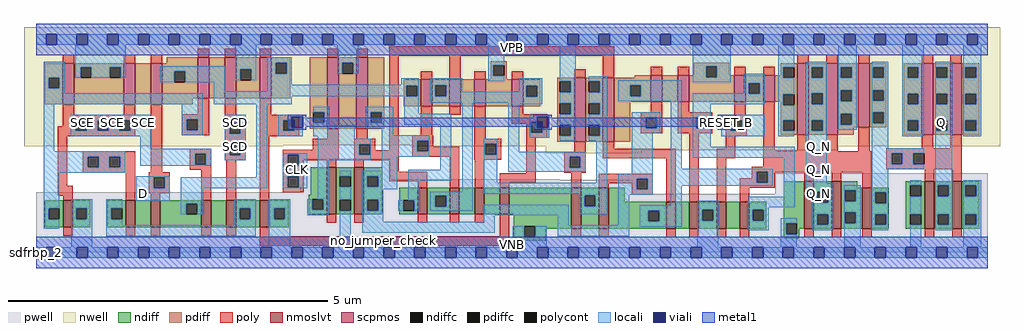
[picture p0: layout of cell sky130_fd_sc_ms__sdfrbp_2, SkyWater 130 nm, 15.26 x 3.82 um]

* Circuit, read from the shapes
.subckt sky130_fd_sc_ms__sdfrbp_2 CLK D RESET_B SCD SCE VGND VNB VPB VPWR Q Q_N
XM1 VGND SCE n1 VNB sky130_fd_pr__nfet_01v8_lvt w=0.42 l=0.15
XM2 n2 n1 n3 VNB sky130_fd_pr__nfet_01v8_lvt w=0.42 l=0.15
XM3 n4 D n2 VNB sky130_fd_pr__nfet_01v8_lvt w=0.42 l=0.15
XM4 n5 SCE n4 VNB sky130_fd_pr__nfet_01v8_lvt w=0.42 l=0.15
XM5 n3 SCD n5 VNB sky130_fd_pr__nfet_01v8_lvt w=0.42 l=0.15
XM6 VGND RESET_B n3 VNB sky130_fd_pr__nfet_01v8_lvt w=0.42 l=0.15
XM7 VGND CLK n6 VNB sky130_fd_pr__nfet_01v8_lvt w=0.74 l=0.15
XM8 n7 n6 VGND VNB sky130_fd_pr__nfet_01v8_lvt w=0.74 l=0.15
XM9 n8 n6 n4 VNB sky130_fd_pr__nfet_01v8_lvt w=0.42 l=0.15
XM10 n9 n7 n8 VNB sky130_fd_pr__nfet_01v8_lvt w=0.42 l=0.15
XM11 n10 n11 n9 VNB sky130_fd_pr__nfet_01v8_lvt w=0.42 l=0.15
XM12 VGND RESET_B n10 VNB sky130_fd_pr__nfet_01v8_lvt w=0.42 l=0.15
XM13 n11 n8 VGND VNB sky130_fd_pr__nfet_01v8_lvt w=0.64 l=0.15
XM14 n12 n7 n11 VNB sky130_fd_pr__nfet_01v8_lvt w=0.64 l=0.15
XM15 n13 n6 n12 VNB sky130_fd_pr__nfet_01v8_lvt w=0.42 l=0.15
XM16 VGND n14 n13 VNB sky130_fd_pr__nfet_01v8_lvt w=0.42 l=0.15
XM17 n15 RESET_B VGND VNB sky130_fd_pr__nfet_01v8_lvt w=0.42 l=0.15
XM18 n14 n12 n15 VNB sky130_fd_pr__nfet_01v8_lvt w=0.42 l=0.15
XM19 Q_N n12 VGND VNB sky130_fd_pr__nfet_01v8_lvt w=0.74 l=0.15 m=2
XM20 n16 n12 VGND VNB sky130_fd_pr__nfet_01v8_lvt w=0.64 l=0.15
XM21 Q n16 VGND VNB sky130_fd_pr__nfet_01v8_lvt w=0.74 l=0.15 m=2
XM22 VPWR SCE n1 VPB sky130_fd_pr__pfet_01v8 w=0.64 l=0.18
XM23 n17 SCE VPWR VPB sky130_fd_pr__pfet_01v8 w=0.64 l=0.18
XM24 n4 D n17 VPB sky130_fd_pr__pfet_01v8 w=0.64 l=0.18
XM25 n18 n1 n4 VPB sky130_fd_pr__pfet_01v8 w=0.64 l=0.18
XM26 VPWR SCD n18 VPB sky130_fd_pr__pfet_01v8 w=0.64 l=0.18
XM27 n4 RESET_B VPWR VPB sky130_fd_pr__pfet_01v8 w=0.64 l=0.18
XM28 VPWR CLK n6 VPB sky130_fd_pr__pfet_01v8 w=1.12 l=0.18
XM29 n7 n6 VPWR VPB sky130_fd_pr__pfet_01v8 w=1.12 l=0.18
XM30 n8 n7 n4 VPB sky130_fd_pr__pfet_01v8 w=0.42 l=0.18
XM31 n19 n6 n8 VPB sky130_fd_pr__pfet_01v8 w=0.42 l=0.18
XM32 VPWR n11 n19 VPB sky130_fd_pr__pfet_01v8 w=0.42 l=0.18
XM33 n8 RESET_B VPWR VPB sky130_fd_pr__pfet_01v8 w=0.42 l=0.18
XM34 n11 n8 VPWR VPB sky130_fd_pr__pfet_01v8 w=1 l=0.18
XM35 n12 n6 n11 VPB sky130_fd_pr__pfet_01v8 w=1 l=0.18
XM36 n20 n7 n12 VPB sky130_fd_pr__pfet_01v8 w=0.42 l=0.18
XM37 VPWR n14 n20 VPB sky130_fd_pr__pfet_01v8 w=0.42 l=0.18
XM38 n14 RESET_B VPWR VPB sky130_fd_pr__pfet_01v8 w=0.42 l=0.18
XM39 VPWR n12 n14 VPB sky130_fd_pr__pfet_01v8 w=0.42 l=0.18
XM40 Q_N n12 VPWR VPB sky130_fd_pr__pfet_01v8 w=1.12 l=0.18 m=2
XM41 n16 n12 VPWR VPB sky130_fd_pr__pfet_01v8 w=1 l=0.18
XM42 Q n16 VPWR VPB sky130_fd_pr__pfet_01v8 w=1.12 l=0.18 m=2
.ends

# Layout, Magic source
magic
tech sky130A
magscale 1 2
<< nwell >>
rect -38 335 3014 704
rect -38 332 772 335
rect 1177 332 3014 335
rect 1594 319 2508 332
rect 1594 311 1894 319
<< pwell >>
rect 833 229 1108 293
rect 833 228 1637 229
rect 833 206 1866 228
rect 826 189 1866 206
rect 1 184 1866 189
rect 2311 184 2975 248
rect 1 49 2975 184
rect 0 0 2976 49
<< scpmos >>
rect 83 464 119 592
rect 274 464 310 592
rect 358 464 394 592
rect 505 483 541 611
rect 589 483 625 611
rect 699 483 735 611
rect 911 387 947 611
rect 1001 387 1037 611
rect 1202 457 1238 541
rect 1292 457 1328 541
rect 1370 457 1406 541
rect 1487 457 1523 541
rect 1682 347 1718 547
rect 1772 347 1808 547
rect 1922 471 1958 555
rect 2006 471 2042 555
rect 2183 471 2219 555
rect 2273 471 2309 555
rect 2380 368 2416 592
rect 2470 368 2506 592
rect 2571 392 2607 592
rect 2769 368 2805 592
rect 2859 368 2895 592
<< nmoslvt >>
rect 84 79 114 163
rect 280 79 310 163
rect 358 79 388 163
rect 517 79 547 163
rect 595 79 625 163
rect 699 79 729 163
rect 909 119 939 267
rect 995 119 1025 267
rect 1193 119 1223 203
rect 1293 119 1323 203
rect 1371 119 1401 203
rect 1449 119 1479 203
rect 1674 74 1704 202
rect 1760 74 1790 202
rect 1970 74 2000 158
rect 2042 74 2072 158
rect 2128 74 2158 158
rect 2200 74 2230 158
rect 2402 74 2432 222
rect 2488 74 2518 222
rect 2583 74 2613 202
rect 2779 74 2809 222
rect 2865 74 2895 222
<< ndiff >>
rect 859 180 909 267
rect 852 167 909 180
rect 27 138 84 163
rect 27 104 39 138
rect 73 104 84 138
rect 27 79 84 104
rect 114 138 169 163
rect 114 104 125 138
rect 159 104 169 138
rect 114 79 169 104
rect 223 138 280 163
rect 223 104 235 138
rect 269 104 280 138
rect 223 79 280 104
rect 310 79 358 163
rect 388 153 517 163
rect 388 119 470 153
rect 504 119 517 153
rect 388 79 517 119
rect 547 79 595 163
rect 625 138 699 163
rect 625 104 636 138
rect 670 104 699 138
rect 625 79 699 104
rect 729 138 790 163
rect 729 104 744 138
rect 778 104 790 138
rect 852 133 864 167
rect 898 133 909 167
rect 852 119 909 133
rect 939 239 995 267
rect 939 205 950 239
rect 984 205 995 239
rect 939 165 995 205
rect 939 131 950 165
rect 984 131 995 165
rect 939 119 995 131
rect 1025 239 1082 267
rect 1025 205 1036 239
rect 1070 205 1082 239
rect 1025 165 1082 205
rect 1025 131 1036 165
rect 1070 131 1082 165
rect 1025 119 1082 131
rect 1136 164 1193 203
rect 1136 130 1148 164
rect 1182 130 1193 164
rect 1136 119 1193 130
rect 1223 177 1293 203
rect 1223 143 1248 177
rect 1282 143 1293 177
rect 1223 119 1293 143
rect 1323 119 1371 203
rect 1401 119 1449 203
rect 1479 202 1611 203
rect 1479 119 1674 202
rect 729 79 790 104
rect 1494 82 1674 119
rect 1494 48 1526 82
rect 1560 74 1674 82
rect 1704 179 1760 202
rect 1704 145 1715 179
rect 1749 145 1760 179
rect 1704 74 1760 145
rect 1790 158 1840 202
rect 1790 131 1970 158
rect 1790 97 1914 131
rect 1948 97 1970 131
rect 1790 74 1970 97
rect 2000 74 2042 158
rect 2072 133 2128 158
rect 2072 99 2083 133
rect 2117 99 2128 133
rect 2072 74 2128 99
rect 2158 74 2200 158
rect 2230 133 2283 158
rect 2230 99 2241 133
rect 2275 99 2283 133
rect 2230 74 2283 99
rect 2337 91 2402 222
rect 1560 48 1593 74
rect 2337 57 2345 91
rect 2379 74 2402 91
rect 2432 190 2488 222
rect 2432 156 2443 190
rect 2477 156 2488 190
rect 2432 120 2488 156
rect 2432 86 2443 120
rect 2477 86 2488 120
rect 2432 74 2488 86
rect 2518 202 2568 222
rect 2720 210 2779 222
rect 2518 194 2583 202
rect 2518 160 2529 194
rect 2563 160 2583 194
rect 2518 126 2583 160
rect 2518 92 2529 126
rect 2563 92 2583 126
rect 2518 74 2583 92
rect 2613 188 2666 202
rect 2613 154 2624 188
rect 2658 154 2666 188
rect 2613 120 2666 154
rect 2613 86 2624 120
rect 2658 86 2666 120
rect 2613 74 2666 86
rect 2720 176 2734 210
rect 2768 176 2779 210
rect 2720 120 2779 176
rect 2720 86 2734 120
rect 2768 86 2779 120
rect 2720 74 2779 86
rect 2809 210 2865 222
rect 2809 176 2820 210
rect 2854 176 2865 210
rect 2809 120 2865 176
rect 2809 86 2820 120
rect 2854 86 2865 120
rect 2809 74 2865 86
rect 2895 210 2949 222
rect 2895 176 2906 210
rect 2940 176 2949 210
rect 2895 120 2949 176
rect 2895 86 2906 120
rect 2940 86 2949 120
rect 2895 74 2949 86
rect 2379 57 2387 74
rect 1494 36 1593 48
rect 2337 45 2387 57
<< pdiff >>
rect 409 592 505 611
rect 27 547 83 592
rect 27 513 39 547
rect 73 513 83 547
rect 27 464 83 513
rect 119 580 274 592
rect 119 546 139 580
rect 173 546 230 580
rect 264 546 274 580
rect 119 464 274 546
rect 310 464 358 592
rect 394 566 505 592
rect 394 532 432 566
rect 466 532 505 566
rect 394 483 505 532
rect 541 483 589 611
rect 625 573 699 611
rect 625 539 639 573
rect 673 539 699 573
rect 625 483 699 539
rect 735 593 795 611
rect 735 559 749 593
rect 783 559 795 593
rect 735 483 795 559
rect 394 464 490 483
rect 855 439 911 611
rect 855 405 867 439
rect 901 405 911 439
rect 855 387 911 405
rect 947 593 1001 611
rect 947 559 957 593
rect 991 559 1001 593
rect 947 387 1001 559
rect 1037 439 1089 611
rect 1037 405 1047 439
rect 1081 405 1089 439
rect 1037 387 1089 405
rect 1421 586 1472 598
rect 1421 552 1430 586
rect 1464 552 1472 586
rect 1421 541 1472 552
rect 2057 582 2168 594
rect 2057 555 2095 582
rect 1872 547 1922 555
rect 1149 522 1202 541
rect 1149 488 1158 522
rect 1192 488 1202 522
rect 1149 457 1202 488
rect 1238 523 1292 541
rect 1238 489 1248 523
rect 1282 489 1292 523
rect 1238 457 1292 489
rect 1328 457 1370 541
rect 1406 457 1487 541
rect 1523 521 1576 541
rect 1523 487 1533 521
rect 1567 487 1576 521
rect 1523 457 1576 487
rect 1630 535 1682 547
rect 1630 501 1638 535
rect 1672 501 1682 535
rect 1630 467 1682 501
rect 1630 433 1638 467
rect 1672 433 1682 467
rect 1630 399 1682 433
rect 1630 365 1638 399
rect 1672 365 1682 399
rect 1630 347 1682 365
rect 1718 535 1772 547
rect 1718 501 1728 535
rect 1762 501 1772 535
rect 1718 467 1772 501
rect 1718 433 1728 467
rect 1762 433 1772 467
rect 1718 399 1772 433
rect 1718 365 1728 399
rect 1762 365 1772 399
rect 1718 347 1772 365
rect 1808 523 1922 547
rect 1808 489 1857 523
rect 1891 489 1922 523
rect 1808 471 1922 489
rect 1958 471 2006 555
rect 2042 548 2095 555
rect 2129 555 2168 582
rect 2328 580 2380 592
rect 2328 555 2336 580
rect 2129 548 2183 555
rect 2042 471 2183 548
rect 2219 530 2273 555
rect 2219 496 2229 530
rect 2263 496 2273 530
rect 2219 471 2273 496
rect 2309 546 2336 555
rect 2370 546 2380 580
rect 2309 495 2380 546
rect 2309 471 2336 495
rect 1808 347 1858 471
rect 2328 461 2336 471
rect 2370 461 2380 495
rect 2328 414 2380 461
rect 2328 380 2336 414
rect 2370 380 2380 414
rect 2328 368 2380 380
rect 2416 580 2470 592
rect 2416 546 2426 580
rect 2460 546 2470 580
rect 2416 498 2470 546
rect 2416 464 2426 498
rect 2460 464 2470 498
rect 2416 414 2470 464
rect 2416 380 2426 414
rect 2460 380 2470 414
rect 2416 368 2470 380
rect 2506 580 2571 592
rect 2506 546 2516 580
rect 2550 546 2571 580
rect 2506 507 2571 546
rect 2506 473 2516 507
rect 2550 473 2571 507
rect 2506 434 2571 473
rect 2506 400 2516 434
rect 2550 400 2571 434
rect 2506 392 2571 400
rect 2607 580 2659 592
rect 2607 546 2617 580
rect 2651 546 2659 580
rect 2607 508 2659 546
rect 2607 474 2617 508
rect 2651 474 2659 508
rect 2607 438 2659 474
rect 2607 404 2617 438
rect 2651 404 2659 438
rect 2607 392 2659 404
rect 2713 580 2769 592
rect 2713 546 2725 580
rect 2759 546 2769 580
rect 2713 497 2769 546
rect 2713 463 2725 497
rect 2759 463 2769 497
rect 2713 414 2769 463
rect 2506 368 2556 392
rect 2713 380 2725 414
rect 2759 380 2769 414
rect 2713 368 2769 380
rect 2805 580 2859 592
rect 2805 546 2815 580
rect 2849 546 2859 580
rect 2805 497 2859 546
rect 2805 463 2815 497
rect 2849 463 2859 497
rect 2805 414 2859 463
rect 2805 380 2815 414
rect 2849 380 2859 414
rect 2805 368 2859 380
rect 2895 580 2949 592
rect 2895 546 2905 580
rect 2939 546 2949 580
rect 2895 497 2949 546
rect 2895 463 2905 497
rect 2939 463 2949 497
rect 2895 414 2949 463
rect 2895 380 2905 414
rect 2939 380 2949 414
rect 2895 368 2949 380
<< ndiffc >>
rect 39 104 73 138
rect 125 104 159 138
rect 235 104 269 138
rect 470 119 504 153
rect 636 104 670 138
rect 744 104 778 138
rect 864 133 898 167
rect 950 205 984 239
rect 950 131 984 165
rect 1036 205 1070 239
rect 1036 131 1070 165
rect 1148 130 1182 164
rect 1248 143 1282 177
rect 1526 48 1560 82
rect 1715 145 1749 179
rect 1914 97 1948 131
rect 2083 99 2117 133
rect 2241 99 2275 133
rect 2345 57 2379 91
rect 2443 156 2477 190
rect 2443 86 2477 120
rect 2529 160 2563 194
rect 2529 92 2563 126
rect 2624 154 2658 188
rect 2624 86 2658 120
rect 2734 176 2768 210
rect 2734 86 2768 120
rect 2820 176 2854 210
rect 2820 86 2854 120
rect 2906 176 2940 210
rect 2906 86 2940 120
<< pdiffc >>
rect 39 513 73 547
rect 139 546 173 580
rect 230 546 264 580
rect 432 532 466 566
rect 639 539 673 573
rect 749 559 783 593
rect 867 405 901 439
rect 957 559 991 593
rect 1047 405 1081 439
rect 1430 552 1464 586
rect 1158 488 1192 522
rect 1248 489 1282 523
rect 1533 487 1567 521
rect 1638 501 1672 535
rect 1638 433 1672 467
rect 1638 365 1672 399
rect 1728 501 1762 535
rect 1728 433 1762 467
rect 1728 365 1762 399
rect 1857 489 1891 523
rect 2095 548 2129 582
rect 2229 496 2263 530
rect 2336 546 2370 580
rect 2336 461 2370 495
rect 2336 380 2370 414
rect 2426 546 2460 580
rect 2426 464 2460 498
rect 2426 380 2460 414
rect 2516 546 2550 580
rect 2516 473 2550 507
rect 2516 400 2550 434
rect 2617 546 2651 580
rect 2617 474 2651 508
rect 2617 404 2651 438
rect 2725 546 2759 580
rect 2725 463 2759 497
rect 2725 380 2759 414
rect 2815 546 2849 580
rect 2815 463 2849 497
rect 2815 380 2849 414
rect 2905 546 2939 580
rect 2905 463 2939 497
rect 2905 380 2939 414
<< poly >>
rect 83 592 119 618
rect 274 592 310 618
rect 358 592 394 618
rect 505 611 541 637
rect 589 611 625 637
rect 699 611 735 637
rect 911 611 947 637
rect 1001 611 1037 637
rect 1104 615 1808 645
rect 83 430 119 464
rect 274 430 310 464
rect 83 414 310 430
rect 83 394 124 414
rect 67 380 124 394
rect 158 380 192 414
rect 226 380 260 414
rect 294 380 310 414
rect 67 364 310 380
rect 67 208 97 364
rect 145 300 310 316
rect 145 266 161 300
rect 195 266 229 300
rect 263 266 310 300
rect 145 250 310 266
rect 358 251 394 464
rect 505 432 541 483
rect 455 416 541 432
rect 455 382 471 416
rect 505 382 541 416
rect 455 366 541 382
rect 589 422 625 483
rect 699 430 735 483
rect 589 406 655 422
rect 589 372 605 406
rect 639 372 655 406
rect 589 338 655 372
rect 481 308 547 324
rect 481 274 497 308
rect 531 274 547 308
rect 589 304 605 338
rect 639 304 655 338
rect 589 288 655 304
rect 699 414 823 430
rect 699 380 773 414
rect 807 380 823 414
rect 699 364 823 380
rect 481 258 547 274
rect 67 178 114 208
rect 84 163 114 178
rect 280 163 310 250
rect 352 235 418 251
rect 352 201 368 235
rect 402 201 418 235
rect 352 185 418 201
rect 358 163 388 185
rect 517 163 547 258
rect 595 163 625 288
rect 699 163 729 364
rect 911 355 947 387
rect 1001 355 1037 387
rect 865 322 947 355
rect 771 306 947 322
rect 771 272 787 306
rect 821 289 947 306
rect 995 339 1061 355
rect 995 305 1011 339
rect 1045 319 1061 339
rect 1104 319 1134 615
rect 1202 541 1238 567
rect 1292 541 1328 615
rect 1370 541 1406 567
rect 1487 541 1523 567
rect 1682 547 1718 573
rect 1772 547 1808 615
rect 2380 592 2416 618
rect 2470 592 2506 618
rect 2571 592 2607 618
rect 2769 592 2805 618
rect 2859 592 2895 618
rect 1922 555 1958 581
rect 2006 555 2042 581
rect 1202 366 1238 457
rect 1292 431 1328 457
rect 1045 305 1134 319
rect 995 289 1134 305
rect 1176 350 1242 366
rect 1176 316 1192 350
rect 1226 330 1242 350
rect 1370 356 1406 457
rect 1487 433 1523 457
rect 1487 409 1598 433
rect 1487 403 1548 409
rect 1532 375 1548 403
rect 1582 375 1598 409
rect 1532 359 1598 375
rect 1370 340 1454 356
rect 1226 316 1323 330
rect 1176 300 1323 316
rect 821 272 837 289
rect 771 238 837 272
rect 909 267 939 289
rect 995 267 1025 289
rect 771 204 787 238
rect 821 204 837 238
rect 771 188 837 204
rect 1104 252 1134 289
rect 1104 222 1223 252
rect 1193 203 1223 222
rect 1293 203 1323 300
rect 1370 306 1404 340
rect 1438 306 1454 340
rect 1370 290 1454 306
rect 1371 203 1401 290
rect 1532 248 1562 359
rect 2183 555 2219 581
rect 2273 555 2309 581
rect 1922 439 1958 471
rect 1890 423 1958 439
rect 1890 389 1906 423
rect 1940 389 1958 423
rect 1890 373 1958 389
rect 2006 439 2042 471
rect 2006 423 2114 439
rect 2183 430 2219 471
rect 2006 389 2064 423
rect 2098 389 2114 423
rect 2006 373 2114 389
rect 2156 414 2222 430
rect 2156 380 2172 414
rect 2206 380 2222 414
rect 1682 315 1718 347
rect 1652 299 1718 315
rect 1652 265 1668 299
rect 1702 265 1718 299
rect 1772 325 1808 347
rect 1772 295 2000 325
rect 1652 249 1718 265
rect 1449 218 1562 248
rect 1449 203 1479 218
rect 1674 202 1704 249
rect 1760 231 1928 247
rect 1760 217 1878 231
rect 1760 202 1790 217
rect 909 93 939 119
rect 995 93 1025 119
rect 1193 93 1223 119
rect 1293 93 1323 119
rect 1371 93 1401 119
rect 84 53 114 79
rect 280 53 310 79
rect 358 53 388 79
rect 517 53 547 79
rect 595 53 625 79
rect 699 51 729 79
rect 1449 51 1479 119
rect 699 21 1479 51
rect 1862 197 1878 217
rect 1912 197 1928 231
rect 1862 181 1928 197
rect 1970 158 2000 295
rect 2042 158 2072 373
rect 2156 364 2222 380
rect 2156 325 2186 364
rect 2128 295 2186 325
rect 2273 318 2309 471
rect 2380 318 2416 368
rect 2273 317 2416 318
rect 2470 317 2506 368
rect 2571 317 2607 392
rect 2769 326 2805 368
rect 2859 326 2895 368
rect 2128 158 2158 295
rect 2273 268 2613 317
rect 2238 252 2613 268
rect 2659 310 2895 326
rect 2659 276 2675 310
rect 2709 276 2743 310
rect 2777 276 2895 310
rect 2659 260 2895 276
rect 2238 232 2254 252
rect 2200 218 2254 232
rect 2288 251 2613 252
rect 2288 218 2309 251
rect 2402 222 2432 251
rect 2488 222 2518 251
rect 2200 202 2309 218
rect 2200 158 2230 202
rect 1674 48 1704 74
rect 1760 48 1790 74
rect 1970 48 2000 74
rect 2042 48 2072 74
rect 2128 48 2158 74
rect 2200 48 2230 74
rect 2583 202 2613 251
rect 2779 222 2809 260
rect 2865 222 2895 260
rect 2402 48 2432 74
rect 2488 48 2518 74
rect 2583 48 2613 74
rect 2779 48 2809 74
rect 2865 48 2895 74
<< polycont >>
rect 124 380 158 414
rect 192 380 226 414
rect 260 380 294 414
rect 161 266 195 300
rect 229 266 263 300
rect 471 382 505 416
rect 605 372 639 406
rect 497 274 531 308
rect 605 304 639 338
rect 773 380 807 414
rect 368 201 402 235
rect 787 272 821 306
rect 1011 305 1045 339
rect 1192 316 1226 350
rect 1548 375 1582 409
rect 787 204 821 238
rect 1404 306 1438 340
rect 1906 389 1940 423
rect 2064 389 2098 423
rect 2172 380 2206 414
rect 1668 265 1702 299
rect 1878 197 1912 231
rect 2675 276 2709 310
rect 2743 276 2777 310
rect 2254 218 2288 252
<< locali >>
rect 0 649 31 683
rect 65 649 127 683
rect 161 649 223 683
rect 257 649 319 683
rect 353 649 415 683
rect 449 649 511 683
rect 545 649 607 683
rect 641 649 703 683
rect 737 649 799 683
rect 833 649 895 683
rect 929 649 991 683
rect 1025 649 1087 683
rect 1121 649 1183 683
rect 1217 649 1279 683
rect 1313 649 1375 683
rect 1409 649 1471 683
rect 1505 649 1567 683
rect 1601 649 1663 683
rect 1697 649 1759 683
rect 1793 649 1855 683
rect 1889 649 1951 683
rect 1985 649 2047 683
rect 2081 649 2143 683
rect 2177 649 2239 683
rect 2273 649 2335 683
rect 2369 649 2431 683
rect 2465 649 2527 683
rect 2561 649 2623 683
rect 2657 649 2719 683
rect 2753 649 2815 683
rect 2849 649 2911 683
rect 2945 649 2976 683
rect 23 547 89 596
rect 23 513 39 547
rect 73 513 89 547
rect 123 580 280 649
rect 123 546 139 580
rect 173 546 230 580
rect 264 546 280 580
rect 388 566 589 582
rect 388 532 432 566
rect 466 532 589 566
rect 623 573 689 649
rect 623 539 639 573
rect 673 539 689 573
rect 623 538 689 539
rect 723 593 799 611
rect 723 559 749 593
rect 783 559 799 593
rect 941 593 1007 649
rect 941 559 957 593
rect 991 559 1007 593
rect 1414 586 1464 649
rect 23 498 89 513
rect 555 504 589 532
rect 723 525 799 559
rect 1414 552 1430 586
rect 1142 525 1197 545
rect 723 522 1197 525
rect 723 504 1158 522
rect 23 464 521 498
rect 555 489 1158 504
rect 555 464 799 489
rect 1151 488 1158 489
rect 1192 488 1197 522
rect 23 316 57 464
rect 108 414 359 430
rect 108 380 124 414
rect 158 380 192 414
rect 226 380 260 414
rect 294 380 359 414
rect 108 364 359 380
rect 455 416 521 464
rect 455 382 471 416
rect 505 382 521 416
rect 455 366 521 382
rect 589 406 655 430
rect 589 372 605 406
rect 639 372 655 406
rect 325 324 359 364
rect 589 338 655 372
rect 23 300 279 316
rect 23 266 161 300
rect 195 266 229 300
rect 263 266 279 300
rect 325 308 547 324
rect 325 274 497 308
rect 531 274 547 308
rect 589 304 605 338
rect 639 304 655 338
rect 589 288 655 304
rect 325 272 547 274
rect 23 250 279 266
rect 23 138 73 250
rect 313 235 418 238
rect 689 235 723 464
rect 867 439 917 455
rect 757 424 833 430
rect 757 414 799 424
rect 757 380 773 414
rect 807 380 833 390
rect 757 364 833 380
rect 901 405 917 439
rect 867 398 917 405
rect 1031 439 1117 455
rect 1031 405 1047 439
rect 1081 405 1117 439
rect 867 364 997 398
rect 1031 389 1117 405
rect 1151 434 1197 488
rect 1232 523 1332 545
rect 1414 536 1464 552
rect 1232 489 1248 523
rect 1282 502 1332 523
rect 1510 521 1583 545
rect 1510 502 1533 521
rect 1282 489 1533 502
rect 1232 487 1533 489
rect 1567 487 1583 521
rect 1232 468 1583 487
rect 1151 400 1298 434
rect 881 355 997 364
rect 1081 366 1117 389
rect 881 339 1047 355
rect 313 201 368 235
rect 402 201 418 235
rect 23 104 39 138
rect 23 75 73 104
rect 109 138 175 167
rect 109 104 125 138
rect 159 104 175 138
rect 109 17 175 104
rect 219 138 269 167
rect 313 162 418 201
rect 452 201 723 235
rect 771 306 847 310
rect 771 272 787 306
rect 821 272 847 306
rect 771 238 847 272
rect 771 204 787 238
rect 821 204 847 238
rect 771 201 847 204
rect 881 305 1011 339
rect 1045 305 1047 339
rect 881 289 1047 305
rect 1081 350 1230 366
rect 1081 316 1192 350
rect 1226 316 1230 350
rect 1081 300 1230 316
rect 219 104 235 138
rect 452 153 522 201
rect 881 167 915 289
rect 1081 255 1129 300
rect 1264 258 1298 400
rect 452 119 470 153
rect 504 119 522 153
rect 620 138 686 167
rect 219 85 269 104
rect 620 104 636 138
rect 670 104 686 138
rect 620 85 686 104
rect 219 51 686 85
rect 728 138 794 167
rect 728 104 744 138
rect 778 104 794 138
rect 848 133 864 167
rect 898 133 915 167
rect 848 117 915 133
rect 950 239 984 255
rect 950 165 984 205
rect 728 17 794 104
rect 950 17 984 131
rect 1020 239 1129 255
rect 1020 205 1036 239
rect 1070 205 1129 239
rect 1020 198 1129 205
rect 1164 224 1298 258
rect 1020 165 1086 198
rect 1020 131 1036 165
rect 1070 131 1086 165
rect 1164 164 1198 224
rect 1332 190 1366 468
rect 1476 464 1583 468
rect 1638 535 1688 649
rect 2053 582 2172 649
rect 1672 501 1688 535
rect 1638 467 1688 501
rect 1020 96 1086 131
rect 1132 130 1148 164
rect 1182 130 1198 164
rect 1232 177 1366 190
rect 1400 340 1442 356
rect 1400 306 1404 340
rect 1438 306 1442 340
rect 1400 218 1442 306
rect 1476 315 1510 464
rect 1672 433 1688 467
rect 1544 424 1604 430
rect 1544 409 1567 424
rect 1544 375 1548 409
rect 1601 390 1604 424
rect 1582 375 1604 390
rect 1544 359 1604 375
rect 1638 399 1688 433
rect 1672 365 1688 399
rect 1638 349 1688 365
rect 1728 535 1786 551
rect 2053 548 2095 582
rect 2129 548 2172 582
rect 2320 580 2370 649
rect 1762 501 1786 535
rect 1728 467 1786 501
rect 1820 523 2019 539
rect 2053 532 2172 548
rect 1820 489 1857 523
rect 1891 489 2019 523
rect 2213 530 2279 559
rect 2213 498 2229 530
rect 1820 473 2019 489
rect 1762 433 1786 467
rect 1728 399 1786 433
rect 1762 365 1786 399
rect 1728 349 1786 365
rect 1476 299 1718 315
rect 1476 265 1668 299
rect 1702 265 1718 299
rect 1476 252 1718 265
rect 1752 218 1786 349
rect 1862 423 1951 439
rect 1862 389 1906 423
rect 1940 389 1951 423
rect 1862 373 1951 389
rect 1862 247 1928 373
rect 1400 184 1786 218
rect 1232 143 1248 177
rect 1282 143 1366 177
rect 1699 179 1786 184
rect 1232 130 1366 143
rect 1400 116 1665 150
rect 1699 145 1715 179
rect 1749 145 1786 179
rect 1699 119 1786 145
rect 1820 231 1928 247
rect 1820 197 1878 231
rect 1912 197 1928 231
rect 1820 181 1928 197
rect 1985 262 2019 473
rect 2053 496 2229 498
rect 2263 496 2279 530
rect 2053 464 2279 496
rect 2320 546 2336 580
rect 2320 495 2370 546
rect 2053 423 2109 464
rect 2320 461 2336 495
rect 2053 389 2064 423
rect 2098 389 2109 423
rect 2053 330 2109 389
rect 2143 424 2279 430
rect 2177 414 2279 424
rect 2143 380 2172 390
rect 2206 380 2279 414
rect 2143 364 2279 380
rect 2320 414 2370 461
rect 2320 380 2336 414
rect 2320 364 2370 380
rect 2406 580 2472 596
rect 2406 546 2426 580
rect 2460 546 2472 580
rect 2406 498 2472 546
rect 2406 464 2426 498
rect 2460 464 2472 498
rect 2406 414 2472 464
rect 2406 380 2426 414
rect 2460 380 2472 414
rect 2508 580 2566 649
rect 2508 546 2516 580
rect 2550 546 2566 580
rect 2508 507 2566 546
rect 2508 473 2516 507
rect 2550 473 2566 507
rect 2508 434 2566 473
rect 2508 400 2516 434
rect 2550 400 2566 434
rect 2508 384 2566 400
rect 2613 580 2665 596
rect 2613 546 2617 580
rect 2651 546 2665 580
rect 2613 508 2665 546
rect 2613 474 2617 508
rect 2651 474 2665 508
rect 2613 438 2665 474
rect 2613 404 2617 438
rect 2651 404 2665 438
rect 2053 296 2372 330
rect 1985 252 2304 262
rect 1985 218 2254 252
rect 2288 218 2304 252
rect 1985 209 2304 218
rect 1400 96 1434 116
rect 1020 62 1434 96
rect 1631 85 1665 116
rect 1820 85 1854 181
rect 1985 147 2019 209
rect 2338 175 2372 296
rect 2406 217 2472 380
rect 2613 326 2665 404
rect 2709 580 2775 649
rect 2709 546 2725 580
rect 2759 546 2775 580
rect 2709 497 2775 546
rect 2709 463 2725 497
rect 2759 463 2775 497
rect 2709 414 2775 463
rect 2709 380 2725 414
rect 2759 380 2775 414
rect 2709 364 2775 380
rect 2811 580 2865 596
rect 2811 546 2815 580
rect 2849 546 2865 580
rect 2811 497 2865 546
rect 2811 463 2815 497
rect 2849 463 2865 497
rect 2811 414 2865 463
rect 2811 380 2815 414
rect 2849 380 2865 414
rect 2613 310 2777 326
rect 2613 276 2675 310
rect 2709 276 2743 310
rect 2613 260 2777 276
rect 2406 190 2493 217
rect 2406 183 2443 190
rect 1490 48 1526 82
rect 1560 48 1597 82
rect 1631 51 1854 85
rect 1888 131 2019 147
rect 1888 97 1914 131
rect 1948 97 2019 131
rect 1888 81 2019 97
rect 2067 133 2133 162
rect 2067 99 2083 133
rect 2117 99 2133 133
rect 1490 17 1597 48
rect 2067 17 2133 99
rect 2225 141 2372 175
rect 2427 156 2443 183
rect 2477 156 2493 190
rect 2225 133 2291 141
rect 2225 99 2241 133
rect 2275 99 2291 133
rect 2427 120 2493 156
rect 2225 70 2291 99
rect 2329 91 2379 107
rect 2329 57 2345 91
rect 2427 86 2443 120
rect 2477 86 2493 120
rect 2427 70 2493 86
rect 2527 194 2579 210
rect 2527 160 2529 194
rect 2563 160 2579 194
rect 2527 126 2579 160
rect 2527 92 2529 126
rect 2563 92 2579 126
rect 2329 17 2379 57
rect 2527 17 2579 92
rect 2613 188 2665 260
rect 2613 154 2624 188
rect 2658 154 2665 188
rect 2613 120 2665 154
rect 2613 86 2624 120
rect 2658 86 2665 120
rect 2613 70 2665 86
rect 2734 210 2768 226
rect 2734 120 2768 176
rect 2734 17 2768 86
rect 2811 210 2865 380
rect 2899 580 2955 649
rect 2899 546 2905 580
rect 2939 546 2955 580
rect 2899 497 2955 546
rect 2899 463 2905 497
rect 2939 463 2955 497
rect 2899 414 2955 463
rect 2899 380 2905 414
rect 2939 380 2955 414
rect 2899 364 2955 380
rect 2811 176 2820 210
rect 2854 176 2865 210
rect 2811 120 2865 176
rect 2811 86 2820 120
rect 2854 86 2865 120
rect 2811 70 2865 86
rect 2899 210 2956 226
rect 2899 176 2906 210
rect 2940 176 2956 210
rect 2899 120 2956 176
rect 2899 86 2906 120
rect 2940 86 2956 120
rect 2899 17 2956 86
rect 0 -17 31 17
rect 65 -17 127 17
rect 161 -17 223 17
rect 257 -17 319 17
rect 353 -17 415 17
rect 449 -17 511 17
rect 545 -17 607 17
rect 641 -17 703 17
rect 737 -17 799 17
rect 833 -17 895 17
rect 929 -17 991 17
rect 1025 -17 1087 17
rect 1121 -17 1183 17
rect 1217 -17 1279 17
rect 1313 -17 1375 17
rect 1409 -17 1471 17
rect 1505 -17 1567 17
rect 1601 -17 1663 17
rect 1697 -17 1759 17
rect 1793 -17 1855 17
rect 1889 -17 1951 17
rect 1985 -17 2047 17
rect 2081 -17 2143 17
rect 2177 -17 2239 17
rect 2273 -17 2335 17
rect 2369 -17 2431 17
rect 2465 -17 2527 17
rect 2561 -17 2623 17
rect 2657 -17 2719 17
rect 2753 -17 2815 17
rect 2849 -17 2911 17
rect 2945 -17 2976 17
<< viali >>
rect 31 649 65 683
rect 127 649 161 683
rect 223 649 257 683
rect 319 649 353 683
rect 415 649 449 683
rect 511 649 545 683
rect 607 649 641 683
rect 703 649 737 683
rect 799 649 833 683
rect 895 649 929 683
rect 991 649 1025 683
rect 1087 649 1121 683
rect 1183 649 1217 683
rect 1279 649 1313 683
rect 1375 649 1409 683
rect 1471 649 1505 683
rect 1567 649 1601 683
rect 1663 649 1697 683
rect 1759 649 1793 683
rect 1855 649 1889 683
rect 1951 649 1985 683
rect 2047 649 2081 683
rect 2143 649 2177 683
rect 2239 649 2273 683
rect 2335 649 2369 683
rect 2431 649 2465 683
rect 2527 649 2561 683
rect 2623 649 2657 683
rect 2719 649 2753 683
rect 2815 649 2849 683
rect 2911 649 2945 683
rect 799 414 833 424
rect 799 390 807 414
rect 807 390 833 414
rect 1567 409 1601 424
rect 1567 390 1582 409
rect 1582 390 1601 409
rect 2143 414 2177 424
rect 2143 390 2172 414
rect 2172 390 2177 414
rect 31 -17 65 17
rect 127 -17 161 17
rect 223 -17 257 17
rect 319 -17 353 17
rect 415 -17 449 17
rect 511 -17 545 17
rect 607 -17 641 17
rect 703 -17 737 17
rect 799 -17 833 17
rect 895 -17 929 17
rect 991 -17 1025 17
rect 1087 -17 1121 17
rect 1183 -17 1217 17
rect 1279 -17 1313 17
rect 1375 -17 1409 17
rect 1471 -17 1505 17
rect 1567 -17 1601 17
rect 1663 -17 1697 17
rect 1759 -17 1793 17
rect 1855 -17 1889 17
rect 1951 -17 1985 17
rect 2047 -17 2081 17
rect 2143 -17 2177 17
rect 2239 -17 2273 17
rect 2335 -17 2369 17
rect 2431 -17 2465 17
rect 2527 -17 2561 17
rect 2623 -17 2657 17
rect 2719 -17 2753 17
rect 2815 -17 2849 17
rect 2911 -17 2945 17
<< metal1 >>
rect 0 683 2976 715
rect 0 649 31 683
rect 65 649 127 683
rect 161 649 223 683
rect 257 649 319 683
rect 353 649 415 683
rect 449 649 511 683
rect 545 649 607 683
rect 641 649 703 683
rect 737 649 799 683
rect 833 649 895 683
rect 929 649 991 683
rect 1025 649 1087 683
rect 1121 649 1183 683
rect 1217 649 1279 683
rect 1313 649 1375 683
rect 1409 649 1471 683
rect 1505 649 1567 683
rect 1601 649 1663 683
rect 1697 649 1759 683
rect 1793 649 1855 683
rect 1889 649 1951 683
rect 1985 649 2047 683
rect 2081 649 2143 683
rect 2177 649 2239 683
rect 2273 649 2335 683
rect 2369 649 2431 683
rect 2465 649 2527 683
rect 2561 649 2623 683
rect 2657 649 2719 683
rect 2753 649 2815 683
rect 2849 649 2911 683
rect 2945 649 2976 683
rect 0 617 2976 649
rect 787 424 845 430
rect 787 390 799 424
rect 833 421 845 424
rect 1555 424 1613 430
rect 1555 421 1567 424
rect 833 393 1567 421
rect 833 390 845 393
rect 787 384 845 390
rect 1555 390 1567 393
rect 1601 421 1613 424
rect 2131 424 2189 430
rect 2131 421 2143 424
rect 1601 393 2143 421
rect 1601 390 1613 393
rect 1555 384 1613 390
rect 2131 390 2143 393
rect 2177 390 2189 424
rect 2131 384 2189 390
rect 0 17 2976 49
rect 0 -17 31 17
rect 65 -17 127 17
rect 161 -17 223 17
rect 257 -17 319 17
rect 353 -17 415 17
rect 449 -17 511 17
rect 545 -17 607 17
rect 641 -17 703 17
rect 737 -17 799 17
rect 833 -17 895 17
rect 929 -17 991 17
rect 1025 -17 1087 17
rect 1121 -17 1183 17
rect 1217 -17 1279 17
rect 1313 -17 1375 17
rect 1409 -17 1471 17
rect 1505 -17 1567 17
rect 1601 -17 1663 17
rect 1697 -17 1759 17
rect 1793 -17 1855 17
rect 1889 -17 1951 17
rect 1985 -17 2047 17
rect 2081 -17 2143 17
rect 2177 -17 2239 17
rect 2273 -17 2335 17
rect 2369 -17 2431 17
rect 2465 -17 2527 17
rect 2561 -17 2623 17
rect 2657 -17 2719 17
rect 2753 -17 2815 17
rect 2849 -17 2911 17
rect 2945 -17 2976 17
rect 0 -49 2976 -17
<< labels >>
flabel pwell s 0 0 2976 49 0 FreeSans 200 0 0 0 VNB
port 7 nsew ground bidirectional
flabel nwell s 0 617 2976 666 0 FreeSans 200 0 0 0 VPB
port 8 nsew power bidirectional
rlabel comment s 0 0 0 0 4 sdfrbp_2
flabel comment s 1397 630 1397 630 0 FreeSans 300 0 0 0 no_jumper_check
flabel comment s 1086 36 1086 36 0 FreeSans 300 0 0 0 no_jumper_check
flabel metal1 s 2143 390 2177 424 0 FreeSans 340 0 0 0 RESET_B
port 3 nsew signal input
flabel metal1 s 0 617 2976 666 0 FreeSans 340 0 0 0 VPWR
port 9 nsew power bidirectional
flabel metal1 s 0 0 2976 49 0 FreeSans 340 0 0 0 VGND
port 6 nsew ground bidirectional
flabel locali s 319 168 353 202 0 FreeSans 340 0 0 0 D
port 2 nsew signal input
flabel locali s 799 242 833 276 0 FreeSans 340 0 0 0 CLK
port 1 nsew clock input
flabel locali s 127 390 161 424 0 FreeSans 340 0 0 0 SCE
port 5 nsew signal input
flabel locali s 223 390 257 424 0 FreeSans 340 0 0 0 SCE
port 5 nsew signal input
flabel locali s 319 390 353 424 0 FreeSans 340 0 0 0 SCE
port 5 nsew signal input
flabel locali s 607 316 641 350 0 FreeSans 340 0 0 0 SCD
port 4 nsew signal input
flabel locali s 607 390 641 424 0 FreeSans 340 0 0 0 SCD
port 4 nsew signal input
flabel locali s 2815 390 2849 424 0 FreeSans 340 0 0 0 Q
port 10 nsew signal output
flabel locali s 2431 168 2465 202 0 FreeSans 340 0 0 0 Q_N
port 11 nsew signal output
flabel locali s 2431 242 2465 276 0 FreeSans 340 0 0 0 Q_N
port 11 nsew signal output
flabel locali s 2431 316 2465 350 0 FreeSans 340 0 0 0 Q_N
port 11 nsew signal output
<< properties >>
string LEFsite unit
string LEFclass CORE
string FIXED_BBOX 0 0 2976 666
string GDS_FILE $PDKPATH/libs.ref/sky130_fd_sc_ms/gds/sky130_fd_sc_ms.gds
string LEFsymmetry X Y R90
string GDS_END 3469328
string GDS_START 3447610
<< end >>
